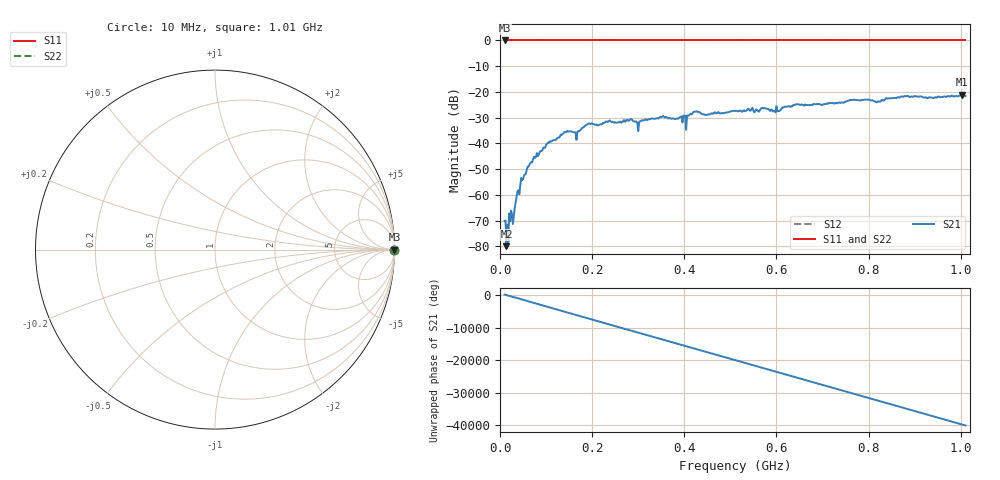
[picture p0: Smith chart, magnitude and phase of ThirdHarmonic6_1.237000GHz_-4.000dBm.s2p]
! 8/16/2025 1:06:23 PM
! C:\ANRITSUVNA\TEMP\TEMP.S2P
! CHANNEL.1
! TR.MEASUREMENT
! RAW.DATA
! RF.CORRECTION.OFF
! AVERAGING.OFF
! IF.BANDWIDTH: 5KHZ
! SWEEPTYPE:  FREQ.SWEEP(Linear)
! Reference Plane Port Info
! PORT:  PORT1  PORT2
! DISTANCE:  0  m  0  m
! TIME:  0  s  0  s
! PHASE.OFFSET:  0  deg.  0  deg.
! LOSS:  0  dB  0  dB
! REF.LOSS:  0  dB  0  dB
! REF.FREQ:  0  Hz  0  Hz
! Power Info
! POWER:  -20  dBm  -20  dBm
! EFF.POWER:  -20  dBm  -20  dBm
! SOURCE.ATTEN:  0  dB  0  dB
! TEST.ATTEN:  0  dB  0  dB
# GHZ S RI R 50.0
! FREQ.GHZ  S11RE  S11IM  S21RE  S21IM  S12RE  S12IM  S22RE  S22IM
!; PortSelection: Port_12
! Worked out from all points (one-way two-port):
!   501 points, 10 MHz to 1.01 GHz, reference 50 ohm
!   highest |S21| = -21.12 dB at 1.002 GHz (marker M1); lowest = -80.0 dB at 14 MHz (marker M2)
!   lowest |S11| = 0.0 dB at 10 MHz (marker M3)
!   |S11| at or under -10 dB: nowhere
!   |S22| runs from 0.0 to 0.0 dB; largest |S21 - S12| = 1.1
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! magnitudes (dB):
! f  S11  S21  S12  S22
! 10 MHz  0.0  -70.1  0.0  0.0
! 14 MHz  0.0  -80.0  0.0  0.0
! 30 MHz  0.0  -68.3  0.0  0.0
! 36 MHz  0.0  -60.8  0.0  0.0
! 48 MHz  0.0  -54.3  0.0  0.0
! 76 MHz  0.0  -45.7  0.0  0.0
! 142 MHz  0.0  -35.6  0.0  0.0
! 164 MHz  0.0  -35.7  0.0  0.0
! 178 MHz  0.0  -34.1  0.0  0.0
! 194 MHz  0.0  -32.2  0.0  0.0
! 282 MHz  0.0  -30.8  0.0  0.0
! 302 MHz  0.0  -31.7  0.0  0.0
! 344 MHz  0.0  -30.3  0.0  0.0
! 400 MHz  0.0  -29.3  0.0  0.0
! 424 MHz  0.0  -27.7  0.0  0.0
! 446 MHz  0.0  -29.0  0.0  0.0
! 510 MHz  0.0  -27.4  0.0  0.0
! 606 MHz  0.0  -27.5  0.0  0.0
! 678 MHz  0.0  -25.2  0.0  0.0
! 844 MHz  0.0  -22.5  0.0  0.0
! 1.002 GHz  0.0  -21.1  0.0  0.0
! 1.01 GHz  0.0  -21.6  0.0  0.0
